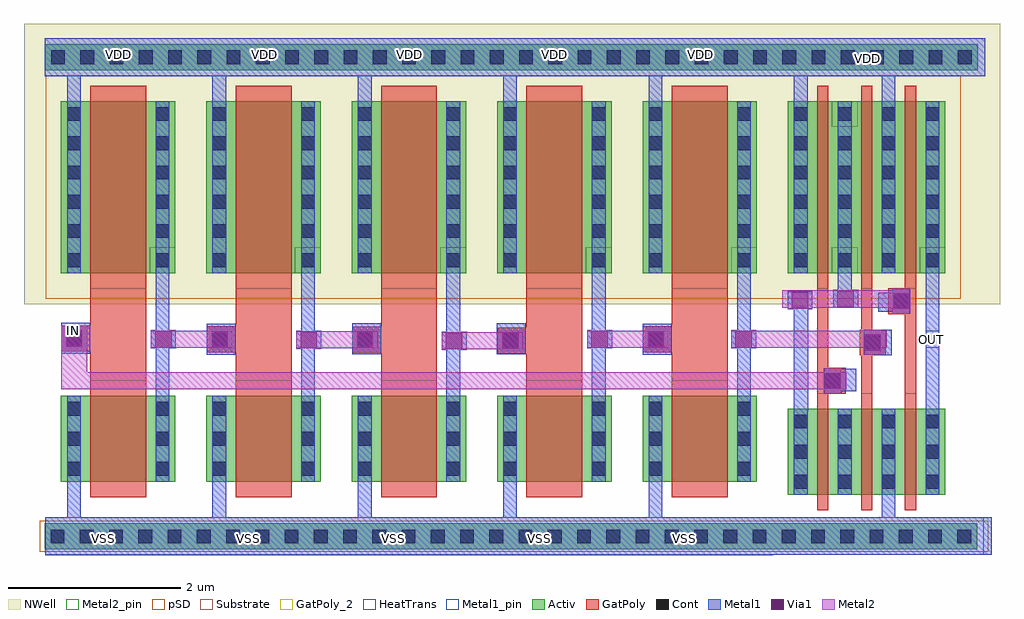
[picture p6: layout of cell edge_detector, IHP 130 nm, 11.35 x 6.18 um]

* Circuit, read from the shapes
.subckt edge_detector IN OUT VDD VSS
XM1 n1 IN VSS VSS sg13_lv_nmos w=1u l=0.65u
XM2 n2 n1 VSS VSS sg13_lv_nmos w=1u l=0.65u
XM3 n3 n2 VSS VSS sg13_lv_nmos w=1u l=0.65u
XM4 n4 n3 VSS VSS sg13_lv_nmos w=1u l=0.65u
XM5 n5 n4 VSS VSS sg13_lv_nmos w=1u l=0.65u
XM6 n6 IN n7 VSS sg13_lv_nmos w=1u l=0.13u
XM7 VSS n5 n6 VSS sg13_lv_nmos w=1u l=0.13u
XM8 OUT n7 VSS VSS sg13_lv_nmos w=1u l=0.13u
XM9 n1 IN VDD VDD sg13_lv_pmos w=2u l=0.65u
XM10 n2 n1 VDD VDD sg13_lv_pmos w=2u l=0.65u
XM11 n3 n2 VDD VDD sg13_lv_pmos w=2u l=0.65u
XM12 n4 n3 VDD VDD sg13_lv_pmos w=2u l=0.65u
XM13 n5 n4 VDD VDD sg13_lv_pmos w=2u l=0.65u
XM14 n7 IN VDD VDD sg13_lv_pmos w=2u l=0.13u
XM15 VDD n5 n7 VDD sg13_lv_pmos w=2u l=0.13u
XM16 OUT n7 VDD VDD sg13_lv_pmos w=2u l=0.13u
.ends

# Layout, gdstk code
from math import pi, radians
import gdstk
lib = gdstk.Library(unit=1e-6, precision=1e-09)
def R(c, l, rs):  # rectangles x0, y0, x1, y1
    for r in rs: c.add(gdstk.rectangle(r[:2], r[2:], *l))
def A(c, l, x, y, w, h, nx, ny, dx, dy):  # array of equal rectangles
    R(c, l, [(x+i*dx, y+j*dy, x+i*dx+w, y+j*dy+h) for i in range(nx) for j in range(ny)])
def P(c, l, *ps):  # polygons
    for p in ps: c.add(gdstk.Polygon(p, *l))
Activ = (1, 0)
GatPoly = (5, 0)
GatPoly_2 = (5, 2)
Cont = (6, 0)
Metal1 = (8, 0)
Metal1_pin = (8, 2)
Metal2 = (10, 0)
Metal2_pin = (10, 2)
pSD = (14, 0)
Via1 = (19, 0)
NWell = (31, 0)
Substrate = (40, 0)
HeatTrans = (51, 0)

via_stack_5 = lib.new_cell('via_stack$5')
R(via_stack_5, Activ, [(-5.42,-0.15,5.42,0.15)])
A(via_stack_5, Cont, -5.35, -0.08, 0.16, 0.16, 32, 1, 0.34, 0)
R(via_stack_5, Metal1, [(-5.4,-0.08,5.4,0.08)])

pmos_1_8 = lib.new_cell('pmos$1$8')
R(pmos_1_8, Activ, [(-5,-5,-4.7,-4.7), (-5,-5,-3.67,-3), (-3.97,-5,-3.67,-4.7)])
R(pmos_1_8, GatPoly, [(-4.66,-5.18,-4.01,-2.82), (-4.66,-5.18,-4.01,-2.82)])
A(pmos_1_8, Cont, -4.93, -4.93, 0.16, 0.16, 1, 6, 0, 0.34)
A(pmos_1_8, Cont, -3.9, -4.93, 0.16, 0.16, 1, 6, 0, 0.34)
R(pmos_1_8, Metal1, [(-4.93,-5,-4.77,-3), (-4.93,-5,-4.77,-3), (-3.9,-5,-3.74,-3), (-3.9,-5,-3.74,-3)])
R(pmos_1_8, pSD, [(-5.18,-5.3,-3.49,-2.7)])
R(pmos_1_8, NWell, [(-5.31,-5.31,-3.36,-2.69)])
R(pmos_1_8, Substrate, [(-3.97,-5,-3.67,-4.7)])
R(pmos_1_8, HeatTrans, [(-4.66,-5.18,-4.01,-2.82)])
pmos_1_8.add(gdstk.Label('pmos', (-4.335,-4), layer=63, texttype=0))
pmos_1_8.add(gdstk.Label('pmos', (-4.335,-4), layer=51, texttype=0))

nmos_4 = lib.new_cell('nmos$4')
R(nmos_4, Activ, [(-5,-5,-4.7,-4.7), (-5,-5,-3.67,-4), (-3.97,-5,-3.67,-4.7)])
R(nmos_4, GatPoly, [(-4.66,-5.18,-4.01,-3.82)])
R(nmos_4, GatPoly_2, [(-4.66,-5.18,-4.01,-3.82)])
A(nmos_4, Cont, -4.93, -4.93, 0.16, 0.16, 1, 3, 0, 0.35)
A(nmos_4, Cont, -3.9, -4.93, 0.16, 0.16, 1, 3, 0, 0.35)
R(nmos_4, Metal1, [(-4.93,-5,-4.77,-4), (-3.9,-5,-3.74,-4)])
R(nmos_4, Metal1_pin, [(-4.93,-5,-4.77,-4), (-3.9,-5,-3.74,-4)])
R(nmos_4, HeatTrans, [(-4.66,-5.18,-4.01,-3.82)])
nmos_4.add(gdstk.Label('nmos', (-4.335,-4.5), layer=63, texttype=0))
nmos_4.add(gdstk.Label('nmos', (-4.335,-4.5), layer=51, texttype=0))

via_stack_6 = lib.new_cell('via_stack$6')
R(via_stack_6, GatPoly, [(-0.15,-0.15,0.15,0.15)])
R(via_stack_6, Cont, [(-0.08,-0.08,0.08,0.08)])
R(via_stack_6, Metal1, [(-0.145,-0.105,0.145,0.105)])
R(via_stack_6, Metal2, [(-0.145,-0.1,0.145,0.1)])
R(via_stack_6, Via1, [(-0.095,-0.095,0.095,0.095)])

via_stack = lib.new_cell('via_stack')
R(via_stack, Metal1, [(-0.145,-0.105,0.145,0.105)])
R(via_stack, Metal2, [(-0.145,-0.1,0.145,0.1)])
R(via_stack, Via1, [(-0.095,-0.095,0.095,0.095)])

nmos_5 = lib.new_cell('nmos$5')
R(nmos_5, Activ, [(-5,-5,-4.7,-4.7), (-5,-5,-3.67,-4), (-3.97,-5,-3.67,-4.7)])
R(nmos_5, GatPoly, [(-4.66,-5.18,-4.01,-3.82)])
R(nmos_5, GatPoly_2, [(-4.66,-5.18,-4.01,-3.82)])
A(nmos_5, Cont, -4.93, -4.93, 0.16, 0.16, 1, 3, 0, 0.35)
A(nmos_5, Cont, -3.9, -4.93, 0.16, 0.16, 1, 3, 0, 0.35)
R(nmos_5, Metal1, [(-4.93,-5,-4.77,-4), (-3.9,-5,-3.74,-4)])
R(nmos_5, Metal1_pin, [(-4.93,-5,-4.77,-4), (-3.9,-5,-3.74,-4)])
R(nmos_5, HeatTrans, [(-4.66,-5.18,-4.01,-3.82)])
nmos_5.add(gdstk.Label('nmos', (-4.335,-4.5), layer=63, texttype=0))
nmos_5.add(gdstk.Label('nmos', (-4.335,-4.5), layer=51, texttype=0))

pmos_1_9 = lib.new_cell('pmos$1$9')
R(pmos_1_9, Activ, [(-5,-5,-4.7,-4.7), (-5,-5,-3.67,-3), (-3.97,-5,-3.67,-4.7)])
R(pmos_1_9, GatPoly, [(-4.66,-5.18,-4.01,-2.82), (-4.66,-5.18,-4.01,-2.82)])
A(pmos_1_9, Cont, -4.93, -4.93, 0.16, 0.16, 1, 6, 0, 0.34)
A(pmos_1_9, Cont, -3.9, -4.93, 0.16, 0.16, 1, 6, 0, 0.34)
R(pmos_1_9, Metal1, [(-4.93,-5,-4.77,-3), (-4.93,-5,-4.77,-3), (-3.9,-5,-3.74,-3), (-3.9,-5,-3.74,-3)])
R(pmos_1_9, pSD, [(-5.18,-5.3,-3.49,-2.7)])
R(pmos_1_9, NWell, [(-5.31,-5.31,-3.36,-2.69)])
R(pmos_1_9, Substrate, [(-3.97,-5,-3.67,-4.7)])
R(pmos_1_9, HeatTrans, [(-4.66,-5.18,-4.01,-2.82)])
pmos_1_9.add(gdstk.Label('pmos', (-4.335,-4), layer=63, texttype=0))
pmos_1_9.add(gdstk.Label('pmos', (-4.335,-4), layer=51, texttype=0))

nmos_1_5 = lib.new_cell('nmos$1$5')
R(nmos_1_5, Activ, [(-5,-5,-4.7,-4.7), (-5,-5,-4.19,-4), (-4.49,-5,-4.19,-4.7)])
R(nmos_1_5, GatPoly, [(-4.66,-5.18,-4.53,-3.82)])
R(nmos_1_5, GatPoly_2, [(-4.66,-5.18,-4.53,-3.82)])
A(nmos_1_5, Cont, -4.93, -4.93, 0.16, 0.16, 1, 3, 0, 0.35)
A(nmos_1_5, Cont, -4.42, -4.93, 0.16, 0.16, 1, 3, 0, 0.35)
R(nmos_1_5, Metal1, [(-4.93,-5,-4.77,-4), (-4.42,-5,-4.26,-4)])
R(nmos_1_5, Metal1_pin, [(-4.93,-5,-4.77,-4), (-4.42,-5,-4.26,-4)])
R(nmos_1_5, HeatTrans, [(-4.66,-5.18,-4.53,-3.82)])
nmos_1_5.add(gdstk.Label('nmos', (-4.595,-4.5), layer=63, texttype=0))
nmos_1_5.add(gdstk.Label('nmos', (-4.595,-4.5), layer=51, texttype=0))

pmos_1_10 = lib.new_cell('pmos$1$10')
R(pmos_1_10, Activ, [(-5,-5,-4.7,-4.7), (-5,-5,-4.19,-3), (-4.49,-5,-4.19,-4.7)])
R(pmos_1_10, GatPoly, [(-4.66,-5.18,-4.53,-2.82), (-4.66,-5.18,-4.53,-2.82)])
A(pmos_1_10, Cont, -4.93, -4.93, 0.16, 0.16, 1, 6, 0, 0.34)
A(pmos_1_10, Cont, -4.42, -4.93, 0.16, 0.16, 1, 6, 0, 0.34)
R(pmos_1_10, Metal1, [(-4.93,-5,-4.77,-3), (-4.93,-5,-4.77,-3), (-4.42,-5,-4.26,-3), (-4.42,-5,-4.26,-3)])
R(pmos_1_10, pSD, [(-5.18,-5.3,-4.01,-2.7)])
R(pmos_1_10, NWell, [(-5.31,-5.31,-3.88,-2.69)])
R(pmos_1_10, Substrate, [(-4.49,-5,-4.19,-4.7)])
R(pmos_1_10, HeatTrans, [(-4.66,-5.18,-4.53,-2.82)])
pmos_1_10.add(gdstk.Label('pmos', (-4.595,-4), layer=63, texttype=0))
pmos_1_10.add(gdstk.Label('pmos', (-4.595,-4), layer=51, texttype=0))

via_stack_3_4 = lib.new_cell('via_stack$3$4')
R(via_stack_3_4, Metal1, [(-5.145,-5.105,-4.855,-4.895)])
R(via_stack_3_4, Metal2, [(-5.145,-5.1,-4.855,-4.9)])
R(via_stack_3_4, Via1, [(-5.095,-5.095,-4.905,-4.905)])

via_stack_2_10 = lib.new_cell('via_stack$2$10')
R(via_stack_2_10, GatPoly, [(-5.15,-5.15,-4.85,-4.85)])
R(via_stack_2_10, Cont, [(-5.08,-5.08,-4.92,-4.92)])
R(via_stack_2_10, Metal1, [(-5.145,-5.105,-4.855,-4.895)])
R(via_stack_2_10, Metal2, [(-5.145,-5.1,-4.855,-4.9)])
R(via_stack_2_10, Via1, [(-5.095,-5.095,-4.905,-4.905)])

edge_detector = lib.new_cell('edge_detector')
A(edge_detector, GatPoly, 1.305, 2.015, 0.65, 1.1, 5, 1, 1.69, 0)
R(edge_detector, GatPoly, [(9.755,1.83,9.885,3.115), (10.775,1.84,10.905,3.135), (10.265,1.845,10.395,3.13), (6.34,2.325,6.375,2.625), (4.65,2.335,4.685,2.635), (4.65,2.335,4.685,2.635), (2.96,2.34,2.995,2.64), (8.03,2.34,8.065,2.64), (8.03,2.34,8.065,2.64), (1.27,2.35,1.305,2.65)])
A(edge_detector, Metal1, 2.065, 1.835, 0.16, 1.46, 5, 1, 1.69, 0)
A(edge_detector, Metal1, 1.035, 5.21, 0.16, 0.4, 5, 1, 1.69, 0)
A(edge_detector, Metal1, 0.775, 5.55, 1.7, 0.44, 5, 1, 1.69, 0)
R(edge_detector, Metal1, [(9.13,-0.015,11.785,0.425), (2.725,0.31,2.885,0.835), (7.795,0.31,7.955,0.835), (1.035,0.38,1.195,0.835), (4.415,0.38,4.575,0.835), (6.105,0.38,6.265,0.835), (10.505,0.425,10.665,0.715), (9.485,1.655,9.65,2.9), (11.015,1.675,11.175,3.31), (9.935,1.885,10.21,2.15), (10.42,2.305,10.62,2.6), (2.66,2.31,2.995,2.67), (7.73,2.31,8.065,2.67), (4.35,2.315,4.685,2.675), (6.03,2.315,6.365,2.675), (0.97,2.325,1.305,2.685), (10.465,2.81,10.835,3.03), (9.995,3.005,10.155,3.285), (9.485,5.195,9.645,5.61), (10.505,5.195,10.665,5.61), (9.125,5.55,11.71,5.99)])
P(edge_detector, Metal1, [(10.505,1.685),(10.505,1.685),(10.665,1.685),(10.665,1.685)],
  [(10.505,1.685),(10.505,1.685),(10.665,1.685),(10.665,1.685)])
A(edge_detector, Metal1_pin, 0.775, 5.55, 1.7, 0.44, 5, 1, 1.69, 0)
R(edge_detector, Metal1_pin, [(0.78,-0.015,11.69,0.42), (11.015,2.39,11.175,2.59), (9.125,5.55,11.71,5.99)])
R(edge_detector, Metal2, [(0.97,1.91,1.27,2.65), (1.27,1.91,10.09,2.11), (0.97,2.35,1.27,2.65), (5.39,2.375,6.335,2.575), (3.7,2.385,4.645,2.585), (2.01,2.39,2.955,2.59), (7.08,2.39,8.025,2.59), (9.045,2.39,10.565,2.59), (9.35,2.86,10.77,3.06)])
R(edge_detector, Metal2_pin, [(0.97,2.35,1.27,2.65)])
A(edge_detector, pSD, 0.72, 0.02, 1.82, 0.36, 4, 1, 1.69, 0)
R(edge_detector, pSD, [(7.48,0.02,11.745,0.38), (0.785,2.96,11.425,5.56)])
A(edge_detector, NWell, 0.535, 2.9, 2.185, 3.26, 3, 1, 1.69, 0)
R(edge_detector, NWell, [(5.605,2.9,11.88,6.16)])
edge_detector.add(gdstk.FlexPath([(0.78,0.2),(2.48,0.2)], 0.44, ends="flush", simple_path=True, layer=8, datatype=0))  # Metal1
edge_detector.add(gdstk.FlexPath([(2.47,0.2),(4.17,0.2)], 0.44, ends="flush", simple_path=True, layer=8, datatype=0))  # Metal1
edge_detector.add(gdstk.FlexPath([(4.16,0.2),(5.86,0.2)], 0.44, ends="flush", simple_path=True, layer=8, datatype=0))  # Metal1
edge_detector.add(gdstk.FlexPath([(5.85,0.2),(7.55,0.2)], 0.44, ends="flush", simple_path=True, layer=8, datatype=0))  # Metal1
edge_detector.add(gdstk.FlexPath([(7.54,0.2),(9.24,0.2)], 0.44, ends="flush", simple_path=True, layer=8, datatype=0))  # Metal1
edge_detector.add(gdstk.Reference(via_stack_5, (6.195,0.2)))
edge_detector.add(gdstk.Reference(via_stack_5, (6.2,5.77)))
edge_detector.add(gdstk.Reference(pmos_1_8, (5.965,8.26)))
edge_detector.add(gdstk.Reference(nmos_4, (5.965,5.835)))
edge_detector.add(gdstk.Reference(nmos_4, (7.655,5.835)))
edge_detector.add(gdstk.Reference(pmos_1_8, (7.655,8.26)))
edge_detector.add(gdstk.Reference(pmos_1_8, (9.345,8.26)))
edge_detector.add(gdstk.Reference(nmos_4, (9.345,5.835)))
edge_detector.add(gdstk.Reference(via_stack_6, (2.81,2.49)))
edge_detector.add(gdstk.Reference(nmos_4, (11.035,5.835)))
edge_detector.add(gdstk.Reference(pmos_1_8, (11.035,8.26)))
edge_detector.add(gdstk.Reference(via_stack, (2.155,2.49)))
edge_detector.add(gdstk.Reference(nmos_5, (12.725,5.835)))
edge_detector.add(gdstk.Reference(pmos_1_9, (12.725,8.26)))
edge_detector.add(gdstk.Reference(via_stack_6, (4.5,2.485)))
edge_detector.add(gdstk.Reference(via_stack, (3.845,2.485)))
edge_detector.add(gdstk.Reference(via_stack_6, (6.19,2.475)))
edge_detector.add(gdstk.Reference(via_stack, (5.535,2.475)))
edge_detector.add(gdstk.Reference(via_stack_6, (7.88,2.49)))
edge_detector.add(gdstk.Reference(via_stack, (7.225,2.49)))
edge_detector.add(gdstk.Reference(nmos_1_5, (5.225,-3.315), rotation=pi))
edge_detector.add(gdstk.Reference(pmos_1_10, (14.415,8.26)))
edge_detector.add(gdstk.Reference(pmos_1_10, (14.415,8.26)))
edge_detector.add(gdstk.Reference(pmos_1_10, (5.735,0.26), rotation=pi))
edge_detector.add(gdstk.Reference(nmos_1_5, (6.245,-3.315), rotation=pi))
edge_detector.add(gdstk.Reference(pmos_1_10, (15.435,8.26)))
edge_detector.add(gdstk.Reference(nmos_1_5, (14.925,5.685)))
edge_detector.add(gdstk.Reference(via_stack_3_4, (14.555,7.945)))
edge_detector.add(gdstk.Reference(via_stack_3_4, (15.085,7.96)))
edge_detector.add(gdstk.Reference(via_stack_2_10, (15.4,-2.545), rotation=3*pi/2))
edge_detector.add(gdstk.Reference(via_stack_2_10, (15.73,-2.065), rotation=3*pi/2))
edge_detector.add(gdstk.Reference(via_stack_2_10, (14.935,-2.99), rotation=3*pi/2))
edge_detector.add(gdstk.Reference(via_stack, (8.9,2.49)))
edge_detector.add(gdstk.Reference(via_stack_6, (1.12,2.5)))
edge_detector.add(gdstk.Label('VDD', (10.335,5.755), layer=8, texttype=25))
edge_detector.add(gdstk.Label('VSS', (1.455,0.17), layer=8, texttype=25))
edge_detector.add(gdstk.Label('OUT', (11.088,2.49), layer=8, texttype=25))
edge_detector.add(gdstk.Label('VDD', (1.635,5.805), layer=8, texttype=25))
edge_detector.add(gdstk.Label('VSS', (3.145,0.17), layer=8, texttype=25))
edge_detector.add(gdstk.Label('VDD', (3.325,5.805), layer=8, texttype=25))
edge_detector.add(gdstk.Label('VSS', (4.835,0.17), layer=8, texttype=25))
edge_detector.add(gdstk.Label('VDD', (5.015,5.805), layer=8, texttype=25))
edge_detector.add(gdstk.Label('VSS', (6.525,0.17), layer=8, texttype=25))
edge_detector.add(gdstk.Label('VDD', (6.705,5.805), layer=8, texttype=25))
edge_detector.add(gdstk.Label('VDD', (8.395,5.805), layer=8, texttype=25))
edge_detector.add(gdstk.Label('VSS', (8.215,0.17), layer=8, texttype=25))
edge_detector.add(gdstk.Label('IN', (1.115,2.595), layer=10, texttype=25))

lib.write_gds('edge_detector.gds')
